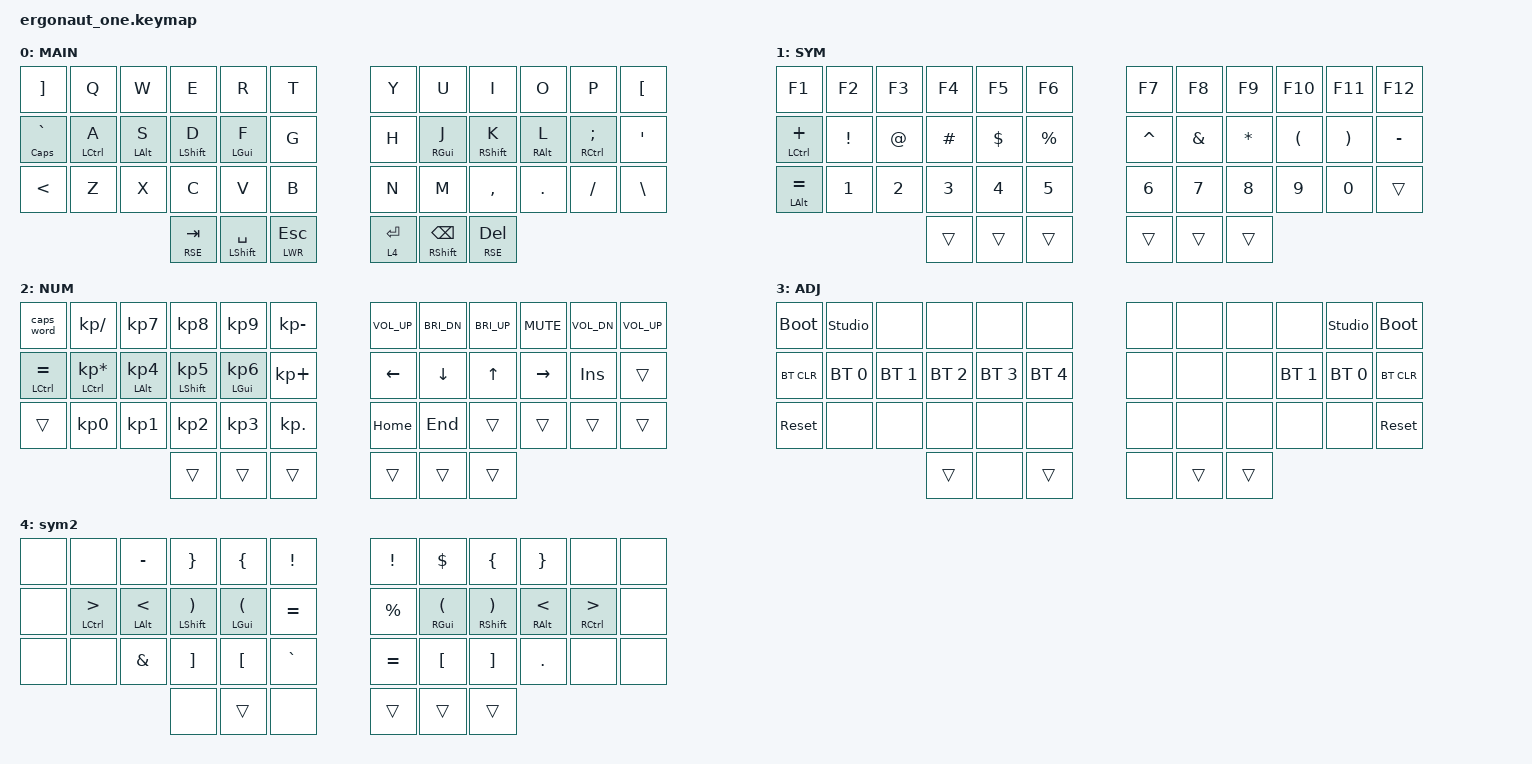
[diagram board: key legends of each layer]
#include <behaviors.dtsi>
#include <dt-bindings/zmk/bt.h>
#include <dt-bindings/zmk/keys.h>

#define DEF 0
#define LWR 1
#define RSE 2
#define ADJ 3

&lt { quick-tap-ms = <200>; };

&mt {
    quick-tap-ms = <200>;
    flavor = "balanced";
};

/ {
    behaviors {
        hml: home_row_mod_left {
            compatible = "zmk,behavior-hold-tap";
            #binding-cells = <2>;
            flavor = "balanced";
            require-prior-idle-ms = <125>;
            tapping-term-ms = <280>;
            quick-tap-ms = <175>;
            bindings = <&kp>, <&kp>;

            hold-trigger-key-positions = <6 7 8 9 6 10 11 18 19 20 21 22 23 30 31 32 33 34 35 30 36 37 38 39 40 41>; // List of keys on the right side of the keyboard
            hold-trigger-on-release;
        };

        hmr: home_row_mod_right {
            compatible = "zmk,behavior-hold-tap";
            #binding-cells = <2>;
            flavor = "balanced";
            require-prior-idle-ms = <125>;
            tapping-term-ms = <280>;
            quick-tap-ms = <175>;
            bindings = <&kp>, <&kp>;

            hold-trigger-key-positions = <0 1 2 3 4 5 12 13 14 15 16 17 24 25 26 27 28 29 36 37 38 39 40 41>; // List of keys on the left side of the keyboard
            hold-trigger-on-release;
        };

        rpi: require_prior_idle {
            compatible = "zmk,behavior-hold-tap";
            #binding-cells = <2>;
            flavor = "tap-preferred";
            tapping-term-ms = <200>;
            quick-tap-ms = <200>;
            require-prior-idle-ms = <125>;
            bindings = <&kp>, <&kp>;
        };
    };
};

/ {
    conditional_layers {
        compatible = "zmk,conditional-layers";

        tri-layer {
            if-layers = <LWR RSE>;
            then-layer = <ADJ>;
        };

        tri-layer2 {
            if-layers = <4 2>;
            then-layer = <3>;
        };
    };

    combos { compatible = "zmk,combos"; };

    keymap {
        compatible = "zmk,keymap";

        default_layer {
            display-name = "MAIN";
            bindings = <
&kp RBKT            &kp Q         &kp W            &kp E          &kp R            &kp T        &kp Y        &kp U           &kp I          &kp O             &kp P            &kp LBKT
&mt CAPSLOCK GRAVE  &hml LCTRL A  &hml LEFT_ALT S  &hml LSHIFT D  &hml LEFT_GUI F  &kp G        &kp H        &hmr RGUI J     &hmr RSHIFT K  &hmr RIGHT_ALT L  &hmr RCTRL SEMI  &kp APOS
&kp LESS_THAN       &kp Z         &kp X            &kp C          &kp V            &kp B        &kp N        &kp M           &kp COMMA      &kp DOT           &kp FSLH         &kp BSLH
                                                   &lt RSE TAB    &mt LSHFT SPACE  &lt LWR ESC  &lt 4 ENTER  &mt RSHFT BSPC  &lt RSE DEL
            >;
        };

        lower_layer {
            display-name = "SYM";
            bindings = <
&kp F1          &kp F2    &kp F3  &kp F4    &kp F5    &kp F6     &kp F7     &kp F8    &kp F9    &kp F10   &kp F11   &kp F12
&mt LCTRL PLUS  &kp EXCL  &kp AT  &kp HASH  &kp DLLR  &kp PRCNT  &kp CARET  &kp AMPS  &kp STAR  &kp LPAR  &kp RPAR  &kp MINUS
&mt LALT EQUAL  &kp N1    &kp N2  &kp N3    &kp N4    &kp N5     &kp N6     &kp N7    &kp N8    &kp N9    &kp N0    &trans
                                  &trans    &trans    &trans     &trans     &trans    &trans
            >;
        };

        raise_layer {
            display-name = "NUM";
            bindings = <
&caps_word       &kp KP_SLASH            &kp KP_N7        &kp KP_N8          &kp KP_N9        &kp KP_MINUS  &kp C_VOL_UP  &kp C_BRI_DN  &kp C_BRI_UP  &kp C_MUTE  &kp C_VOL_DN  &kp C_VOL_UP
&mt LCTRL EQUAL  &hml LCTRL KP_MULTIPLY  &hml LALT KP_N4  &hml LSHIFT KP_N5  &hml LGUI KP_N6  &kp KP_PLUS   &kp LEFT      &kp DOWN      &kp UP        &kp RIGHT   &kp INS       &trans
&trans           &kp KP_N0               &kp KP_N1        &kp KP_N2          &kp KP_N3        &kp KP_DOT    &kp HOME      &kp END       &trans        &trans      &trans        &trans
                                                          &trans             &trans           &trans        &trans        &trans        &trans
            >;
        };

        adjust_layer {
            display-name = "ADJ";
            bindings = <
&bootloader  &studio_unlock  &none         &none         &none         &none         &none  &none   &none   &none         &studio_unlock  &bootloader
&bt BT_CLR   &bt BT_SEL 0    &bt BT_SEL 1  &bt BT_SEL 2  &bt BT_SEL 3  &bt BT_SEL 4  &none  &none   &none   &bt BT_SEL 1  &bt BT_SEL 0    &bt BT_CLR
&sys_reset   &none           &none         &none         &none         &none         &none  &none   &none   &none         &none           &sys_reset
                                           &trans        &none         &trans        &none  &trans  &trans
            >;
        };

        sym_layer {
            bindings = <
&none  &none                    &kp MINUS                &kp RIGHT_BRACE                    &kp LEFT_BRACE                  &kp EXCL   &kp EXCL     &kp DOLLAR                  &kp LEFT_BRACE                &kp RIGHT_BRACE      &none                    &none
&none  &hml LCTRL GREATER_THAN  &hml LEFT_ALT LESS_THAN  &hml LEFT_SHIFT RIGHT_PARENTHESIS  &hml LEFT_GUI LEFT_PARENTHESIS  &kp EQUAL  &kp PERCENT  &hmr RGUI LEFT_PARENTHESIS  &hmr RSHFT RIGHT_PARENTHESIS  &hmr RALT LESS_THAN  &hmr RCTRL GREATER_THAN  &none
&none  &none                    &kp AMPS                 &kp RIGHT_BRACKET                  &kp LEFT_BRACKET                &kp GRAVE  &kp EQUAL    &kp LEFT_BRACKET            &kp RIGHT_BRACKET             &kp DOT              &none                    &none
                                                         &none                              &trans                          &none      &trans       &trans                      &trans
            >;

            label = "sym2";
        };
    };
};
